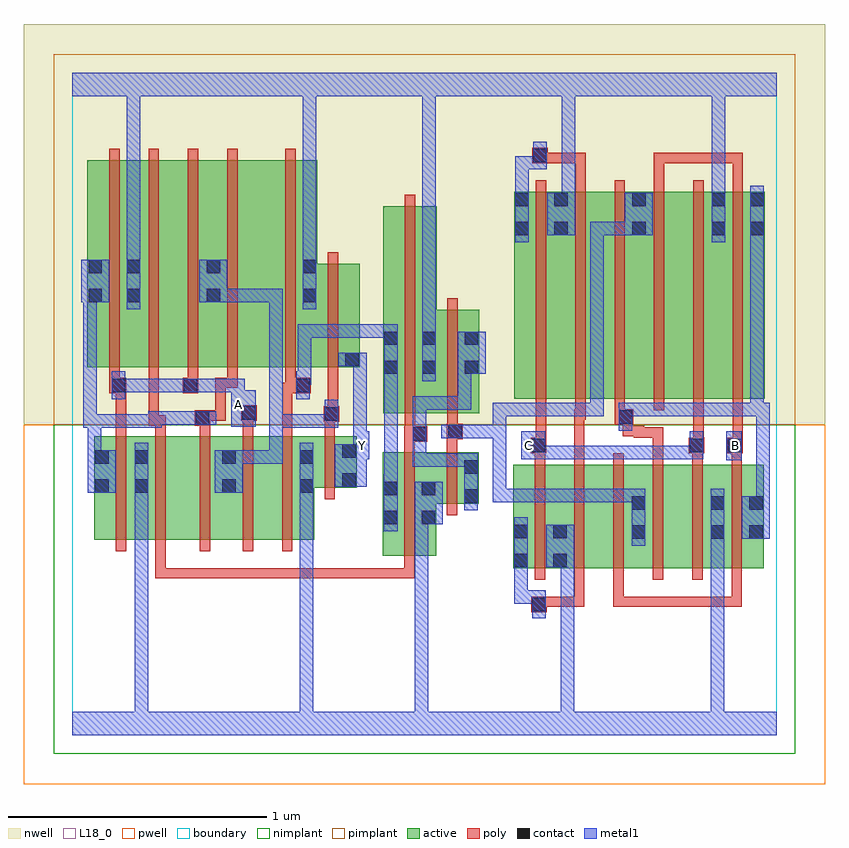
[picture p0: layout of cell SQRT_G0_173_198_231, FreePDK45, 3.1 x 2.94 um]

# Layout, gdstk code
import gdstk
lib = gdstk.Library(unit=1e-6, precision=1e-09)
def R(c, l, rs):  # rectangles x0, y0, x1, y1
    for r in rs: c.add(gdstk.rectangle(r[:2], r[2:], *l))
def A(c, l, x, y, w, h, nx, ny, dx, dy):  # array of equal rectangles
    R(c, l, [(x+i*dx, y+j*dy, x+i*dx+w, y+j*dy+h) for i in range(nx) for j in range(ny)])
active = (1, 0)
pwell = (2, 0)
nwell = (3, 0)
nimplant = (4, 0)
pimplant = (5, 0)
poly = (9, 0)
contact = (10, 0)
metal1 = (11, 0)
L18_0 = (18, 0)
boundary = (235, 0)

sqrt_g0_173_198_231 = lib.new_cell('SQRT_G0_173_198_231')
R(sqrt_g0_173_198_231, active, [(1.702,0.646,1.914,1.046), (1.702,0.646,1.762,1.046), (1.854,0.646,1.914,0.818), (1.854,0.646,2.034,1.046), (2.034,0.646,2.216,1.046), (2.156,0.646,2.338,1.046), (2.338,0.646,2.522,1.046), (2.462,0.646,2.67,1.046), (1.198,0.694,1.406,1.094), (1.346,0.694,1.406,0.984), (0.084,0.756,0.296,1.156), (0.084,0.756,0.144,1.156), (0.236,0.756,0.416,1.156), (0.236,0.756,0.296,1.106), (0.416,0.756,0.634,1.156), (0.574,0.756,0.754,1.156), (0.574,0.756,0.634,1.106), (0.754,0.756,0.934,1.156), (0.874,0.756,0.934,1.106), (1.198,0.756,1.258,1.094), (2.156,0.756,2.216,0.928), (2.462,0.756,2.522,0.928), (2.61,0.756,2.67,1.046), (1.346,0.894,1.57,1.094), (1.51,0.894,1.57,1.094), (0.874,0.956,1.098,1.156), (1.038,0.956,1.098,1.156), (1.2,1.244,1.26,2.044), (1.2,1.244,1.408,2.044), (1.348,1.244,1.408,1.644), (1.348,1.244,1.572,1.644), (1.512,1.244,1.572,1.644), (1.706,1.3,1.766,2.1), (1.706,1.3,1.918,2.1), (1.858,1.3,2.038,2.1), (2.038,1.3,2.218,2.1), (2.158,1.3,2.342,2.1), (2.342,1.3,2.526,2.1), (2.466,1.3,2.674,2.1), (2.614,1.3,2.674,2.1), (0.058,1.422,0.266,2.222), (0.058,1.422,0.118,2.044), (0.206,1.422,0.39,2.222), (0.206,1.422,0.266,2.044), (0.39,1.422,0.574,2.222), (0.514,1.422,0.766,2.222), (0.514,1.422,0.574,2.044), (0.766,1.422,0.946,2.222), (0.886,1.422,1.11,1.822), (0.886,1.422,0.946,1.842), (1.05,1.422,1.11,1.644), (1.858,1.65,1.918,2.1), (2.466,1.65,2.526,2.1), (2.158,1.686,2.218,2.1)])
R(sqrt_g0_173_198_231, pwell, [(-0.188,-0.188,2.908,1.2)])
R(sqrt_g0_173_198_231, nwell, [(-0.188,1.2,2.908,2.748)])
R(sqrt_g0_173_198_231, nimplant, [(-0.072,-0.072,2.792,1.2)])
R(sqrt_g0_173_198_231, pimplant, [(-0.072,1.2,2.792,2.632)])
A(sqrt_g0_173_198_231, poly, 1.786, 0.602, 0.04, 0.488, 6, 1, 0.152, 0)
A(sqrt_g0_173_198_231, poly, 0.704, 0.606, 0.04, 0.04, 3, 1, 0.106, 0)
A(sqrt_g0_173_198_231, poly, 0.704, 0.606, 0.146, 0.04, 3, 1, 0.106, 0)
A(sqrt_g0_173_198_231, poly, 1.79, 1.256, 0.04, 0.888, 6, 1, 0.152, 0)
A(sqrt_g0_173_198_231, poly, 0.142, 1.378, 0.04, 0.888, 4, 1, 0.152, 0)
A(sqrt_g0_173_198_231, poly, 1.942, 2.104, 0.04, 0.146, 3, 1, 0.304, 0)
R(sqrt_g0_173_198_231, poly, [(1.772,0.476,1.832,0.536), (1.792,0.496,1.978,0.536), (1.938,0.496,1.978,0.642), (1.938,0.496,1.978,0.536), (1.938,0.496,1.978,0.536), (1.938,0.496,1.978,0.536), (2.09,0.496,2.13,0.642), (2.09,0.496,2.13,0.536), (2.09,0.496,2.13,0.536), (2.09,0.496,2.13,0.536), (2.09,0.496,2.314,0.536), (2.274,0.496,2.314,0.536), (2.274,0.496,2.314,0.536), (2.274,0.496,2.314,0.536), (2.274,0.496,2.42,0.536), (2.38,0.496,2.42,0.536), (2.38,0.496,2.586,0.536), (2.546,0.496,2.586,0.642), (2.546,0.496,2.586,0.536), (2.546,0.496,2.586,0.536), (2.546,0.496,2.586,0.536), (0.32,0.606,0.36,0.752), (0.32,0.606,0.36,0.646), (0.32,0.606,0.36,0.646), (0.32,0.606,0.36,0.646), (0.32,0.606,0.466,0.646), (0.426,0.606,0.466,0.646), (0.426,0.606,0.466,0.646), (0.426,0.606,0.466,0.646), (0.426,0.606,0.744,0.646), (0.704,0.606,0.744,0.646), (0.704,0.606,0.744,0.646), (0.916,0.606,0.956,0.646), (0.916,0.606,0.956,0.646), (1.022,0.606,1.062,0.646), (1.022,0.606,1.322,0.646), (1.282,0.606,1.322,0.646), (1.282,0.606,1.322,0.646), (1.282,0.606,1.322,0.646), (1.282,0.606,1.322,0.69), (1.282,0.65,1.322,1.138), (0.168,0.712,0.208,1.2), (0.32,0.712,0.36,1.2), (0.492,0.712,0.532,1.2), (0.658,0.712,0.698,1.2), (0.81,0.712,0.85,1.2), (1.446,0.85,1.486,1.138), (0.974,0.912,1.014,1.2), (1.786,1.05,1.826,1.13), (1.938,1.05,1.978,1.26), (2.242,1.05,2.282,1.19), (2.394,1.05,2.434,1.13), (2.546,1.05,2.586,1.13), (1.77,1.09,1.83,1.15), (2.38,1.09,2.44,1.15), (2.53,1.09,2.59,1.15), (1.282,1.098,1.322,1.174), (1.446,1.098,1.486,1.184), (1.79,1.11,1.83,1.15), (1.79,1.11,1.83,1.15), (1.79,1.11,1.83,1.296), (2.398,1.11,2.438,1.15), (2.398,1.11,2.438,1.15), (2.398,1.11,2.438,1.296), (2.55,1.11,2.59,1.15), (2.55,1.11,2.59,1.15), (2.55,1.11,2.59,1.296), (1.282,1.134,1.37,1.194), (1.446,1.144,1.508,1.204), (2.168,1.15,2.282,1.19), (2.168,1.15,2.208,1.196), (2.242,1.15,2.282,1.19), (1.284,1.154,1.324,1.194), (1.284,1.154,1.324,1.194), (1.284,1.154,1.324,1.24), (2.126,1.156,2.166,1.196), (2.126,1.156,2.208,1.196), (2.126,1.156,2.166,1.24), (0.168,1.16,0.208,1.362), (0.32,1.16,0.36,1.236), (0.492,1.16,0.532,1.236), (0.658,1.16,0.698,1.256), (0.81,1.16,0.85,1.362), (0.974,1.16,1.014,1.252), (1.448,1.164,1.488,1.204), (1.448,1.164,1.488,1.204), (1.448,1.164,1.488,1.24), (0.294,1.196,0.334,1.236), (0.294,1.196,0.334,1.236), (0.294,1.196,0.334,1.418), (0.294,1.196,0.36,1.236), (0.472,1.196,0.532,1.256), (1.284,1.2,1.324,2.088), (1.448,1.2,1.488,1.688), (2.094,1.2,2.166,1.26), (0.97,1.212,1.03,1.272), (0.492,1.216,0.592,1.256), (0.552,1.216,0.592,1.256), (0.552,1.216,0.592,1.382), (0.652,1.216,0.712,1.276), (1.938,1.22,1.978,1.26), (1.938,1.22,1.978,1.26), (1.938,1.22,1.982,1.26), (1.942,1.22,1.982,1.296), (2.094,1.22,2.134,1.296), (0.986,1.232,1.026,1.272), (0.986,1.232,1.026,1.272), (0.986,1.232,1.026,1.418), (0.142,1.322,0.208,1.382), (0.168,1.322,0.208,1.362), (0.168,1.322,0.208,1.362), (0.426,1.322,0.486,1.382), (0.81,1.322,0.862,1.362), (0.822,1.322,0.862,1.362), (0.822,1.322,0.92,1.382), (0.142,1.342,0.182,1.418), (0.446,1.342,0.486,1.418), (0.552,1.342,0.592,1.382), (0.552,1.342,0.638,1.382), (0.598,1.342,0.638,1.382), (0.598,1.342,0.638,1.418), (0.822,1.342,0.862,1.418), (0.822,1.378,0.862,2.266), (0.986,1.378,1.026,1.866), (1.776,2.21,1.836,2.27), (1.796,2.21,1.836,2.25), (1.796,2.21,1.836,2.25), (1.796,2.21,1.982,2.25), (1.942,2.21,1.982,2.25), (2.246,2.21,2.286,2.25), (2.246,2.21,2.42,2.25), (2.38,2.21,2.42,2.25), (2.38,2.21,2.42,2.25), (2.38,2.21,2.42,2.25), (2.38,2.21,2.59,2.25), (2.55,2.21,2.59,2.25), (2.55,2.21,2.59,2.25), (2.55,2.21,2.59,2.25)])
R(sqrt_g0_173_198_231, contact, [(1.776,0.48,1.828,0.532), (1.706,0.65,1.758,0.702), (1.858,0.65,1.91,0.702), (2.16,0.76,2.212,0.812), (2.466,0.76,2.518,0.812), (2.614,0.76,2.666,0.812), (1.706,0.762,1.758,0.814), (1.858,0.762,1.91,0.814), (1.202,0.816,1.254,0.868), (1.35,0.816,1.402,0.868), (2.16,0.872,2.212,0.924), (2.466,0.872,2.518,0.924), (2.614,0.872,2.666,0.924), (1.514,0.898,1.566,0.95), (1.202,0.928,1.254,0.98), (1.35,0.928,1.402,0.98), (0.088,0.938,0.14,0.99), (0.24,0.938,0.292,0.99), (0.578,0.938,0.63,0.99), (0.878,0.938,0.93,0.99), (1.042,0.96,1.094,1.012), (1.514,1.01,1.566,1.062), (0.088,1.05,0.14,1.102), (0.24,1.05,0.292,1.102), (0.578,1.05,0.63,1.102), (0.878,1.05,0.93,1.102), (1.042,1.072,1.094,1.124), (1.774,1.094,1.826,1.146), (2.384,1.094,2.436,1.146), (2.534,1.094,2.586,1.146), (1.314,1.138,1.366,1.19), (1.452,1.148,1.504,1.2), (0.476,1.2,0.528,1.252), (2.11,1.204,2.162,1.256), (0.974,1.216,1.026,1.268), (0.656,1.22,0.708,1.272), (0.152,1.326,0.204,1.378), (0.43,1.326,0.482,1.378), (0.864,1.326,0.916,1.378), (1.204,1.396,1.256,1.448), (1.352,1.396,1.404,1.448), (1.516,1.396,1.568,1.448), (1.054,1.426,1.106,1.478), (1.204,1.508,1.256,1.56), (1.352,1.508,1.404,1.56), (1.516,1.508,1.568,1.56), (0.062,1.674,0.114,1.726), (0.21,1.674,0.262,1.726), (0.518,1.674,0.57,1.726), (0.89,1.674,0.942,1.726), (0.062,1.786,0.114,1.838), (0.21,1.786,0.262,1.838), (0.518,1.786,0.57,1.838), (0.89,1.786,0.942,1.838), (1.71,1.932,1.762,1.984), (1.862,1.932,1.914,1.984), (2.162,1.932,2.214,1.984), (2.47,1.932,2.522,1.984), (2.618,1.932,2.67,1.984), (1.71,2.044,1.762,2.096), (1.862,2.044,1.914,2.096), (2.162,2.044,2.214,2.096), (2.47,2.044,2.522,2.096), (2.618,2.044,2.67,2.096), (1.78,2.214,1.832,2.266)])
R(sqrt_g0_173_198_231, metal1, [(0,0,2.72,0.092), (0.24,0.04,0.292,0.092), (0.24,0.04,0.292,0.092), (0.24,0.04,0.292,0.092), (0.24,0.04,0.292,0.092), (0.24,0.04,0.292,0.092), (0.24,0.04,0.292,0.092), (0.24,0.04,0.292,0.092), (0.24,0.04,0.292,0.092), (0.24,0.04,0.292,0.092), (0.24,0.04,0.292,0.092), (0.24,0.04,0.292,0.962), (0.878,0.04,0.93,0.092), (0.878,0.04,0.93,0.092), (0.878,0.04,0.93,0.092), (0.878,0.04,0.93,0.092), (0.878,0.04,0.93,0.962), (1.322,0.04,1.374,0.092), (1.322,0.04,1.374,0.092), (1.322,0.04,1.374,0.868), (1.886,0.04,1.938,0.092), (1.886,0.04,1.938,0.092), (1.886,0.04,1.938,0.092), (1.886,0.04,1.938,0.092), (1.886,0.04,1.938,0.702), (2.466,0.04,2.518,0.784), (1.776,0.452,1.828,0.56), (1.706,0.508,1.758,0.56), (1.706,0.508,1.828,0.56), (1.706,0.508,1.758,0.674), (1.706,0.622,1.758,0.842), (1.83,0.65,1.938,0.814), (1.886,0.65,1.938,0.702), (1.886,0.65,1.938,0.702), (1.886,0.65,1.938,0.702), (1.886,0.65,1.938,0.702), (1.886,0.65,1.938,0.702), (1.886,0.65,1.938,0.702), (1.886,0.65,1.938,0.702), (1.886,0.65,1.938,0.702), (2.16,0.732,2.212,0.952), (2.466,0.732,2.518,0.952), (2.466,0.732,2.518,0.784), (2.466,0.732,2.518,0.784), (2.466,0.732,2.518,0.784), (2.466,0.732,2.518,0.784), (2.466,0.732,2.518,0.784), (2.466,0.732,2.518,0.784), (2.466,0.732,2.518,0.784), (2.466,0.732,2.518,0.784), (2.466,0.732,2.518,0.784), (2.466,0.732,2.518,0.784), (2.466,0.732,2.518,0.784), (2.466,0.732,2.518,0.784), (2.586,0.76,2.694,0.924), (1.202,0.788,1.256,1.008), (1.322,0.816,1.374,0.868), (1.322,0.816,1.374,0.868), (1.322,0.816,1.374,0.868), (1.322,0.816,1.374,0.868), (1.322,0.816,1.374,0.868), (1.322,0.816,1.374,0.868), (1.322,0.816,1.374,0.868), (1.322,0.816,1.374,0.868), (1.322,0.816,1.374,0.868), (1.322,0.816,1.374,0.868), (1.322,0.816,1.43,0.98), (1.514,0.87,1.566,1.09), (2.642,0.872,2.694,1.284), (1.624,0.9,1.676,0.952), (1.624,0.9,1.872,0.952), (1.624,0.9,1.676,1.2), (1.82,0.9,1.872,0.952), (1.82,0.9,1.872,0.952), (1.82,0.9,1.872,0.952), (1.82,0.9,2.052,0.952), (2,0.9,2.052,0.952), (2,0.9,2.052,0.952), (2,0.9,2.052,0.952), (2,0.9,2.188,0.952), (2.136,0.9,2.188,0.952), (2.136,0.9,2.212,0.952), (0.24,0.91,0.292,1.13), (0.24,0.91,0.292,0.962), (0.24,0.91,0.292,0.962), (0.878,0.91,0.93,1.13), (0.878,0.91,0.93,0.962), (0.878,0.91,0.93,0.962), (0.878,0.91,0.93,0.962), (0.878,0.91,0.93,0.962), (0.878,0.91,0.93,0.962), (0.878,0.91,0.93,0.962), (0.878,0.91,0.93,0.962), (0.878,0.91,0.93,0.962), (0.06,0.938,0.168,1.102), (0.55,0.938,0.658,1.102), (1.204,0.956,1.256,1.42), (1.014,0.96,1.136,1.124), (1.314,1.038,1.366,1.09), (1.314,1.038,1.566,1.09), (1.314,1.038,1.366,1.162), (1.514,1.038,1.566,1.09), (1.514,1.038,1.566,1.09), (0.06,1.05,0.112,1.24), (0.606,1.05,0.806,1.102), (0.754,1.05,0.806,1.102), (0.754,1.05,0.812,1.102), (0.76,1.05,0.812,1.102), (0.76,1.05,0.812,1.24), (2.526,1.062,2.586,1.174), (1.084,1.066,1.136,1.118), (1.084,1.066,1.146,1.174), (1.734,1.066,1.826,1.174), (1.774,1.066,1.872,1.118), (1.82,1.066,1.872,1.118), (1.82,1.066,2.052,1.118), (2,1.066,2.052,1.118), (2,1.066,2.052,1.118), (2,1.066,2.052,1.118), (2,1.066,2.162,1.118), (2.11,1.066,2.162,1.118), (2.11,1.066,2.298,1.118), (2.246,1.066,2.298,1.118), (2.246,1.066,2.298,1.118), (2.246,1.066,2.298,1.118), (2.246,1.066,2.408,1.118), (2.356,1.066,2.408,1.118), (2.356,1.066,2.436,1.118), (2.384,1.066,2.436,1.174), (1.314,1.11,1.366,1.162), (1.314,1.11,1.366,1.162), (1.314,1.11,1.366,1.218), (1.314,1.11,1.366,1.31), (1.084,1.122,1.136,1.478), (1.424,1.148,1.532,1.2), (1.48,1.148,1.676,1.2), (1.624,1.148,1.676,1.2), (1.624,1.148,1.676,1.2), (1.624,1.148,1.676,1.2), (1.624,1.148,1.676,1.284), (2.11,1.176,2.162,1.284), (0.042,1.188,0.094,1.24), (0.042,1.188,0.094,1.24), (0.042,1.188,0.094,1.726), (0.042,1.188,0.112,1.24), (0.06,1.188,0.112,1.24), (0.06,1.188,0.112,1.24), (0.06,1.188,0.222,1.24), (0.17,1.188,0.222,1.24), (0.17,1.188,0.344,1.24), (0.292,1.188,0.344,1.252), (0.76,1.188,0.812,1.24), (0.76,1.188,0.916,1.24), (0.76,1.188,0.812,1.726), (0.864,1.188,0.916,1.24), (0.864,1.188,0.942,1.24), (0.89,1.188,0.942,1.24), (0.89,1.188,1.026,1.24), (0.974,1.188,1.026,1.296), (0.614,1.192,0.708,1.334), (0.292,1.2,0.344,1.252), (0.292,1.2,0.344,1.252), (0.292,1.2,0.5,1.252), (0.448,1.2,0.556,1.252), (1.624,1.232,1.676,1.284), (1.624,1.232,1.942,1.284), (1.89,1.232,1.942,1.284), (1.89,1.232,1.942,1.284), (1.89,1.232,1.942,1.284), (1.89,1.232,2.052,1.284), (2,1.232,2.052,1.284), (2,1.232,2.052,1.284), (2,1.232,2.052,1.284), (2,1.232,2.052,1.984), (2.11,1.232,2.162,1.284), (2.11,1.232,2.162,1.284), (2.11,1.232,2.298,1.284), (2.246,1.232,2.298,1.284), (2.246,1.232,2.408,1.284), (2.356,1.232,2.408,1.284), (2.356,1.232,2.408,1.284), (2.356,1.232,2.408,1.284), (2.356,1.232,2.518,1.284), (2.466,1.232,2.518,1.284), (2.466,1.232,2.518,1.284), (2.466,1.232,2.518,1.284), (2.466,1.232,2.67,1.284), (2.618,1.232,2.67,1.956), (2.618,1.232,2.694,1.284), (2.642,1.232,2.694,1.284), (2.642,1.232,2.694,1.284), (1.314,1.258,1.366,1.31), (1.314,1.258,1.54,1.31), (1.488,1.258,1.54,1.31), (1.488,1.258,1.54,1.31), (1.488,1.258,1.54,1.31), (1.488,1.258,1.54,1.448), (0.614,1.282,0.666,1.334), (0.614,1.282,0.666,1.334), (0.614,1.282,0.666,1.378), (0.152,1.298,0.204,1.406), (0.864,1.298,0.916,1.406), (0.152,1.326,0.234,1.378), (0.182,1.326,0.234,1.378), (0.182,1.326,0.344,1.378), (0.292,1.326,0.344,1.378), (0.292,1.326,0.344,1.378), (0.292,1.326,0.344,1.378), (0.292,1.326,0.454,1.378), (0.402,1.326,0.51,1.378), (0.458,1.326,0.666,1.378), (0.614,1.326,0.666,1.378), (0.864,1.354,0.922,1.406), (0.87,1.354,0.922,1.406), (0.87,1.354,0.922,1.588), (1.204,1.368,1.256,1.588), (1.204,1.368,1.256,1.42), (1.204,1.368,1.256,1.42), (1.204,1.368,1.256,1.42), (1.204,1.368,1.256,1.42), (1.204,1.368,1.256,1.42), (1.204,1.368,1.256,1.42), (1.352,1.368,1.404,1.588), (1.488,1.396,1.596,1.56), (1.026,1.426,1.134,1.478), (1.082,1.426,1.134,1.478), (1.082,1.426,1.136,1.478), (0.87,1.536,0.922,1.588), (0.87,1.536,0.922,1.588), (0.87,1.536,0.922,1.588), (0.87,1.536,1.052,1.588), (1,1.536,1.052,1.588), (1,1.536,1.052,1.588), (1,1.536,1.052,1.588), (1,1.536,1.256,1.588), (1.352,1.536,1.404,1.588), (1.352,1.536,1.404,1.588), (1.352,1.536,1.404,1.588), (1.352,1.536,1.404,1.588), (1.352,1.536,1.404,1.588), (1.352,1.536,1.404,1.588), (1.352,1.536,1.404,1.588), (1.352,1.536,1.404,1.588), (1.352,1.536,1.404,2.52), (0.21,1.646,0.262,1.866), (0.89,1.646,0.942,1.866), (0.034,1.674,0.142,1.838), (0.49,1.674,0.598,1.838), (0.546,1.674,0.806,1.726), (0.754,1.674,0.806,1.726), (0.754,1.674,0.812,1.726), (0.76,1.674,0.812,1.726), (0.76,1.674,0.812,1.726), (0.76,1.674,0.812,1.726), (0.21,1.814,0.262,1.866), (0.21,1.814,0.262,1.866), (0.21,1.814,0.262,1.866), (0.21,1.814,0.262,1.866), (0.21,1.814,0.262,1.866), (0.21,1.814,0.262,1.866), (0.21,1.814,0.262,1.866), (0.21,1.814,0.262,1.866), (0.21,1.814,0.262,2.52), (0.89,1.814,0.942,1.866), (0.89,1.814,0.942,1.866), (0.89,1.814,0.942,1.866), (0.89,1.814,0.942,1.866), (0.89,1.814,0.942,1.866), (0.89,1.814,0.942,1.866), (0.89,1.814,0.942,1.866), (0.89,1.814,0.942,1.866), (0.89,1.814,0.942,2.52), (1.71,1.904,1.762,2.124), (2.47,1.904,2.522,2.124), (2.618,1.904,2.67,2.124), (1.834,1.932,1.942,2.096), (2,1.932,2.052,1.984), (2,1.932,2.186,1.984), (2.134,1.932,2.186,1.984), (2.134,1.932,2.186,1.984), (2.134,1.932,2.242,2.096), (1.89,2.044,1.942,2.096), (1.89,2.044,1.942,2.096), (1.89,2.044,1.942,2.096), (1.89,2.044,1.942,2.096), (1.89,2.044,1.942,2.096), (1.89,2.044,1.942,2.096), (1.89,2.044,1.942,2.52), (1.71,2.072,1.762,2.238), (2.47,2.072,2.522,2.124), (2.47,2.072,2.522,2.124), (2.47,2.072,2.522,2.124), (2.47,2.072,2.522,2.124), (2.47,2.072,2.522,2.52), (1.71,2.186,1.762,2.238), (1.71,2.186,1.832,2.238), (1.78,2.186,1.832,2.294), (0,2.468,2.72,2.56), (1.89,2.468,1.942,2.52), (1.89,2.468,1.942,2.52), (2.47,2.468,2.522,2.52), (2.47,2.468,2.522,2.52), (2.47,2.468,2.522,2.52), (2.47,2.468,2.522,2.52)])
R(sqrt_g0_173_198_231, L18_0, [(0,0,2.72,0.092), (0.24,0.04,0.292,0.092), (0.24,0.04,0.292,0.092), (0.24,0.04,0.292,0.092), (0.24,0.04,0.292,0.092), (0.24,0.04,0.292,0.092), (0.24,0.04,0.292,0.092), (0.24,0.04,0.292,0.092), (0.24,0.04,0.292,0.092), (0.24,0.04,0.292,0.092), (0.24,0.04,0.292,0.092), (0.24,0.04,0.292,0.962), (0.878,0.04,0.93,0.092), (0.878,0.04,0.93,0.092), (0.878,0.04,0.93,0.092), (0.878,0.04,0.93,0.092), (0.878,0.04,0.93,0.962), (1.322,0.04,1.374,0.092), (1.322,0.04,1.374,0.092), (1.322,0.04,1.374,0.868), (1.886,0.04,1.938,0.092), (1.886,0.04,1.938,0.092), (1.886,0.04,1.938,0.092), (1.886,0.04,1.938,0.092), (1.886,0.04,1.938,0.702), (2.466,0.04,2.518,0.784), (1.83,0.65,1.938,0.814), (1.886,0.65,1.938,0.702), (1.886,0.65,1.938,0.702), (1.886,0.65,1.938,0.702), (1.886,0.65,1.938,0.702), (1.886,0.65,1.938,0.702), (1.886,0.65,1.938,0.702), (1.886,0.65,1.938,0.702), (1.886,0.65,1.938,0.702), (2.466,0.732,2.518,0.784), (2.466,0.732,2.518,0.784), (2.466,0.732,2.518,0.784), (2.466,0.732,2.518,0.784), (2.466,0.732,2.518,0.784), (2.466,0.732,2.518,0.784), (2.466,0.732,2.518,0.784), (2.466,0.732,2.518,0.784), (2.466,0.732,2.518,0.784), (2.466,0.732,2.518,0.784), (2.466,0.732,2.518,0.784), (2.466,0.732,2.518,0.784), (2.466,0.732,2.518,0.952), (1.322,0.816,1.374,0.868), (1.322,0.816,1.374,0.868), (1.322,0.816,1.374,0.868), (1.322,0.816,1.374,0.868), (1.322,0.816,1.374,0.868), (1.322,0.816,1.374,0.868), (1.322,0.816,1.374,0.868), (1.322,0.816,1.374,0.868), (1.322,0.816,1.374,0.868), (1.322,0.816,1.374,0.868), (1.322,0.816,1.43,0.98), (0.24,0.91,0.292,0.962), (0.24,0.91,0.292,0.962), (0.24,0.91,0.292,1.13), (0.878,0.91,0.93,0.962), (0.878,0.91,0.93,0.962), (0.878,0.91,0.93,0.962), (0.878,0.91,0.93,0.962), (0.878,0.91,0.93,0.962), (0.878,0.91,0.93,0.962), (0.878,0.91,0.93,0.962), (0.878,0.91,0.93,0.962), (0.878,0.91,0.93,1.13), (1.014,0.96,1.136,1.124), (2.526,1.062,2.586,1.174), (1.084,1.066,1.136,1.118), (1.084,1.066,1.146,1.174), (1.734,1.066,1.826,1.174), (1.774,1.066,1.872,1.118), (1.82,1.066,1.872,1.118), (1.82,1.066,2.052,1.118), (2,1.066,2.052,1.118), (2,1.066,2.052,1.118), (2,1.066,2.052,1.118), (2,1.066,2.162,1.118), (2.11,1.066,2.162,1.118), (2.11,1.066,2.298,1.118), (2.246,1.066,2.298,1.118), (2.246,1.066,2.298,1.118), (2.246,1.066,2.298,1.118), (2.246,1.066,2.408,1.118), (2.356,1.066,2.408,1.118), (2.356,1.066,2.436,1.118), (2.384,1.066,2.436,1.174), (1.094,1.094,1.146,1.146), (1.734,1.094,1.786,1.146), (2.534,1.094,2.586,1.146), (1.084,1.122,1.136,1.478), (0.614,1.192,0.708,1.334), (0.614,1.254,0.666,1.306), (0.614,1.282,0.666,1.334), (0.614,1.282,0.666,1.334), (0.614,1.282,0.666,1.378), (0.152,1.298,0.204,1.406), (0.152,1.326,0.234,1.378), (0.182,1.326,0.234,1.378), (0.182,1.326,0.344,1.378), (0.292,1.326,0.344,1.378), (0.292,1.326,0.344,1.378), (0.292,1.326,0.344,1.378), (0.292,1.326,0.454,1.378), (0.402,1.326,0.51,1.378), (0.458,1.326,0.666,1.378), (0.614,1.326,0.666,1.378), (1.352,1.368,1.404,1.588), (1.026,1.426,1.134,1.478), (1.082,1.426,1.134,1.478), (1.082,1.426,1.136,1.478), (1.352,1.536,1.404,1.588), (1.352,1.536,1.404,1.588), (1.352,1.536,1.404,1.588), (1.352,1.536,1.404,1.588), (1.352,1.536,1.404,1.588), (1.352,1.536,1.404,1.588), (1.352,1.536,1.404,1.588), (1.352,1.536,1.404,1.588), (1.352,1.536,1.404,2.52), (0.21,1.646,0.262,1.866), (0.89,1.646,0.942,1.866), (0.21,1.814,0.262,1.866), (0.21,1.814,0.262,1.866), (0.21,1.814,0.262,1.866), (0.21,1.814,0.262,1.866), (0.21,1.814,0.262,1.866), (0.21,1.814,0.262,1.866), (0.21,1.814,0.262,1.866), (0.21,1.814,0.262,1.866), (0.21,1.814,0.262,2.52), (0.89,1.814,0.942,1.866), (0.89,1.814,0.942,1.866), (0.89,1.814,0.942,1.866), (0.89,1.814,0.942,1.866), (0.89,1.814,0.942,1.866), (0.89,1.814,0.942,1.866), (0.89,1.814,0.942,1.866), (0.89,1.814,0.942,1.866), (0.89,1.814,0.942,2.52), (2.47,1.904,2.522,2.124), (1.834,1.932,1.942,2.096), (1.89,2.044,1.942,2.096), (1.89,2.044,1.942,2.096), (1.89,2.044,1.942,2.096), (1.89,2.044,1.942,2.096), (1.89,2.044,1.942,2.096), (1.89,2.044,1.942,2.096), (1.89,2.044,1.942,2.52), (2.47,2.072,2.522,2.124), (2.47,2.072,2.522,2.124), (2.47,2.072,2.522,2.124), (2.47,2.072,2.522,2.124), (2.47,2.072,2.522,2.52), (0,2.468,2.72,2.56), (1.89,2.468,1.942,2.52), (1.89,2.468,1.942,2.52), (2.47,2.468,2.522,2.52), (2.47,2.468,2.522,2.52), (2.47,2.468,2.522,2.52), (2.47,2.468,2.522,2.52)])
R(sqrt_g0_173_198_231, boundary, [(0,0,2.72,2.56)])
sqrt_g0_173_198_231.add(gdstk.Label('A', (0.64,1.28), layer=11, texttype=0))
sqrt_g0_173_198_231.add(gdstk.Label('B', (2.56,1.12), layer=11, texttype=0))
sqrt_g0_173_198_231.add(gdstk.Label('C', (1.76,1.12), layer=11, texttype=0))
sqrt_g0_173_198_231.add(gdstk.Label('Y', (1.12,1.12), layer=11, texttype=0))

lib.write_gds('SQRT_G0_173_198_231.gds')
